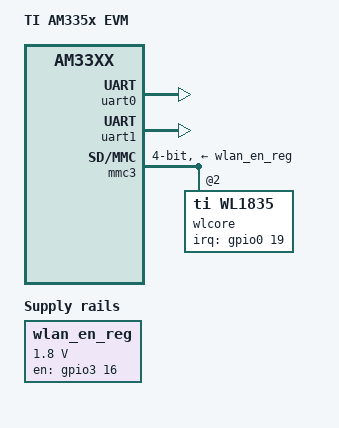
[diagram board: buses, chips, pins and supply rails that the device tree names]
/*
 * Copyright (C) 2012 Texas Instruments Incorporated - http://www.ti.com/
 *
 * This program is free software; you can redistribute it and/or modify
 * it under the terms of the GNU General Public License version 2 as
 * published by the Free Software Foundation.
 */

#include <dt-bindings/interrupt-controller/irq.h>

/ {
	model = "TI AM335x EVM";
	compatible = "ti,am335x-evm", "ti,am33xx";

	wlan_en_reg: fixedregulator@2 {
		compatible = "regulator-fixed";
		regulator-name = "wlan-en-regulator";
		regulator-min-microvolt = <1800000>;
		regulator-max-microvolt = <1800000>;

		/* WLAN_EN GPIO for this board - Bank3, pin16 */
		gpio = <&gpio3 16 0>;

		/* WLAN card specific delay */
		startup-delay-us = <70000>;
		enable-active-high;
	};

	tibt {
		compatible = "tibt";
		nshutdown_gpio = <3>; /* Bank0, pin3 */
		dev_name = "/dev/ttyS1";
		flow_cntrl = <1>;
		baud_rate = <3000000>;
	};

	btwilink {
		compatible = "btwilink";
	};
	
};

&am33xx_pinmux {
	pinctrl-names = "default";
	pinctrl-0 = <&matrix_keypad_s0 &volume_keys_s0 &clkout2_pin>;


	uart0_pins: pinmux_uart0_pins {
		pinctrl-single,pins = <
			0x170 (PIN_INPUT_PULLUP | MUX_MODE0)	/* uart0_rxd.uart0_rxd */
			0x174 (PIN_OUTPUT_PULLDOWN | MUX_MODE0)	/* uart0_txd.uart0_txd */
		>;
	};

	uart1_pins: pinmux_uart1_pins {
		pinctrl-single,pins = <
			0x178 (PIN_INPUT | MUX_MODE0)		/* uart1_ctsn.uart1_ctsn */
			0x17C (PIN_OUTPUT_PULLDOWN | MUX_MODE0)	/* uart1_rtsn.uart1_rtsn */
			0x180 (PIN_INPUT_PULLUP | MUX_MODE0)	/* uart1_rxd.uart1_rxd */
			0x184 (PIN_OUTPUT_PULLDOWN | MUX_MODE0)	/* uart1_txd.uart1_txd */
		>;
	};

	mmc1_pins: pinmux_mmc1_pins {
		pinctrl-single,pins = <
			0x160 (PIN_INPUT | MUX_MODE7) /* spi0_cs1.gpio0_6 */
		>;
	};

	mmc3_pins: pinmux_mmc3_pins {
		pinctrl-single,pins = <
			0x44 (PIN_INPUT_PULLUP | MUX_MODE3)	/* gpmc_a1.mmc2_dat0, INPUT_PULLUP | MODE3 */
			0x48 (PIN_INPUT_PULLUP | MUX_MODE3)	/* gpmc_a2.mmc2_dat1, INPUT_PULLUP | MODE3 */
			0x4C (PIN_INPUT_PULLUP | MUX_MODE3)	/* gpmc_a3.mmc2_dat2, INPUT_PULLUP | MODE3 */
			0x78 (PIN_INPUT_PULLUP | MUX_MODE3)	/* gpmc_ben1.mmc2_dat3, INPUT_PULLUP | MODE3 */
			0x88 (PIN_INPUT_PULLUP | MUX_MODE3)	/* gpmc_csn3.mmc2_cmd, INPUT_PULLUP | MODE3 */
			0x8C (PIN_INPUT_PULLUP | MUX_MODE3)	/* gpmc_clk.mmc2_clk, INPUT_PULLUP | MODE3 */
		>;
	};

	wlan_pins: pinmux_wlan_pins {
		pinctrl-single,pins = <
			0x40 (PIN_OUTPUT_PULLDOWN | MUX_MODE7)	/* gpmc_a0.gpio1_16 */
			0x19C (PIN_INPUT | MUX_MODE7)		/* mcasp0_ahclkr.gpio3_17 */
			0x1AC (PIN_OUTPUT_PULLDOWN | MUX_MODE7)	/* mcasp0_ahclkx.gpio3_21 */
		>;
	};

};

&uart0 {
	pinctrl-names = "default";
	pinctrl-0 = <&uart0_pins>;

	status = "okay";
};

&uart1 {
	pinctrl-names = "default";
	pinctrl-0 = <&uart1_pins>;

	status = "okay";
};


&mmc3 {
	/* these are on the crossbar and are outlined in the
	   xbar-event-map element */
	dmas = <&edma 12
		&edma 13>;
	dma-names = "tx", "rx";
	status = "okay";
	vmmc-supply = <&wlan_en_reg>;
	bus-width = <4>;
	pinctrl-names = "default";
	pinctrl-0 = <&mmc3_pins &wlan_pins>;
	ti,non-removable;
	ti,needs-special-hs-handling;
	cap-power-off-card;
	keep-power-in-suspend;

	#address-cells = <1>;
	#size-cells = <0>;
	wlcore: wlcore@2 {
		compatible = "ti,wl1835";
		reg = <2>;
		interrupt-parent = <&gpio0>;
		interrupts = <19 IRQ_TYPE_LEVEL_HIGH>;
	};
};

